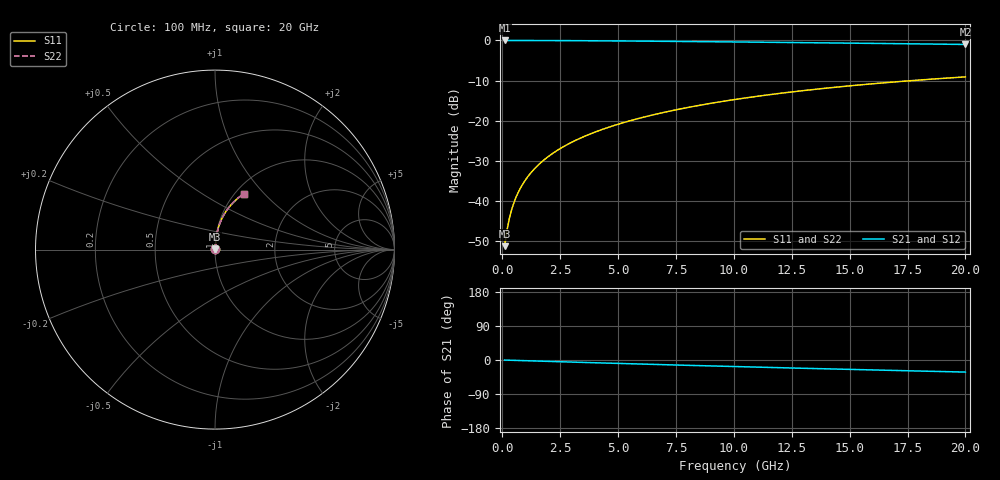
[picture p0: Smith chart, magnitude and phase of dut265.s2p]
! Touchstone file exported from HFSS 2024.1.0
!  File:  C:/UserFiles/LocalFiles/RDL_TSV_Batchsim/temp_RDL_bottom_265_1778702296.aedt
!  Generated:  04:00:52 AM May 14, 2026
!  Design:  RDL_bottom
!  Project:  temp_RDL_bottom_265_1778702296
!  Setup:  Setup1
!  Solution:  Sweep
! Variables:
!  dtsv = 10.80580581um
!  hbump = 3um
!  htsv = 75.25um
!  ldown = 401.7um
!  lrdl = 100um
!  p = 40
!  p1 = 54.42um
!  rhole = 1um
!  t = 450um
!  tdown = 4.39um
!  trdl = 3.915915916um
!  wdown = 17.6um
!  wrdl = 20um
# GHz S MA R 50.000000
! Terminal data exported
! Port[1] = RDL1_T1
! Port[2] = RDL1_T2
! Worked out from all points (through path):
!   200 points, 100 MHz to 20 GHz, reference 50 ohm
!   highest |S21| = -0.02 dB at 100 MHz (marker M1); lowest = -1.0 dB at 20 GHz (marker M2)
!   group delay of S21, straight-line fit = 4.4 ps
!   lowest |S11| = -51.3 dB at 100 MHz (marker M3), VSWR 1.01, Z = 50.2 + j0.189 ohm
!   |S11| at or under -10 dB: start of sweep to 17.73 GHz
!   |S22| runs from -51.3 to -9.1 dB; largest |S21 - S12| = 3.3e-15
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0.1  0.002731 43.6  0.998 -0.2  0.998 -0.2  0.002731 43.6
! Gamma 0 0 0 0
! Port Impedance 50 0 50 0
0.2  0.004266 61.5  0.9979 -0.4  0.9979 -0.4  0.004266 61.5
0.3  0.005976 69.2  0.9978 -0.6  0.9978 -0.6  0.005976 69.2
0.4  0.007725 73.4  0.9977 -0.8  0.9977 -0.8  0.007725 73.4
0.5  0.00948 76.0  0.9976 -0.9  0.9976 -0.9  0.00948 76.0
0.7  0.01299 79.0  0.9974 -1.3  0.9974 -1.3  0.01299 79.0
0.8  0.01474 80.0  0.9973 -1.5  0.9973 -1.5  0.01474 80.0
1  0.01825 81.4  0.9971 -1.9  0.9971 -1.9  0.01825 81.4
1.2  0.02177 82.4  0.9968 -2.2  0.9968 -2.2  0.02177 82.4
1.4  0.0253 83.0  0.9964 -2.6  0.9964 -2.6  0.0253 83.0
1.7  0.03061 83.7  0.9959 -3.2  0.9959 -3.2  0.03061 83.7
2  0.03595 84.0  0.9952 -3.7  0.9952 -3.7  0.03595 84.0
2.7  0.04846 84.3  0.9933 -5.0  0.9933 -5.0  0.04846 84.3
3.5  0.06289 84.2  0.9906 -6.4  0.9906 -6.4  0.06289 84.2
4.2  0.07561 83.8  0.9878 -7.7  0.9878 -7.7  0.07561 83.8
5  0.09025 83.1  0.9843 -9.0  0.9843 -9.0  0.09024 83.1
6.8  0.1235 81.2  0.9752 -12.1  0.9752 -12.1  0.1235 81.2
8.4  0.1532 79.2  0.9662 -14.7  0.9662 -14.7  0.1532 79.2
10.1  0.1846 76.9  0.9561 -17.4  0.9561 -17.4  0.1845 76.9
13.4  0.2439 72.1  0.9352 -22.5  0.9352 -22.5  0.2439 72.1
16.7  0.2997 67.2  0.913 -27.3  0.913 -27.3  0.2997 67.2
20  0.3512 62.5  0.8899 -31.9  0.8899 -31.9  0.3511 62.5
